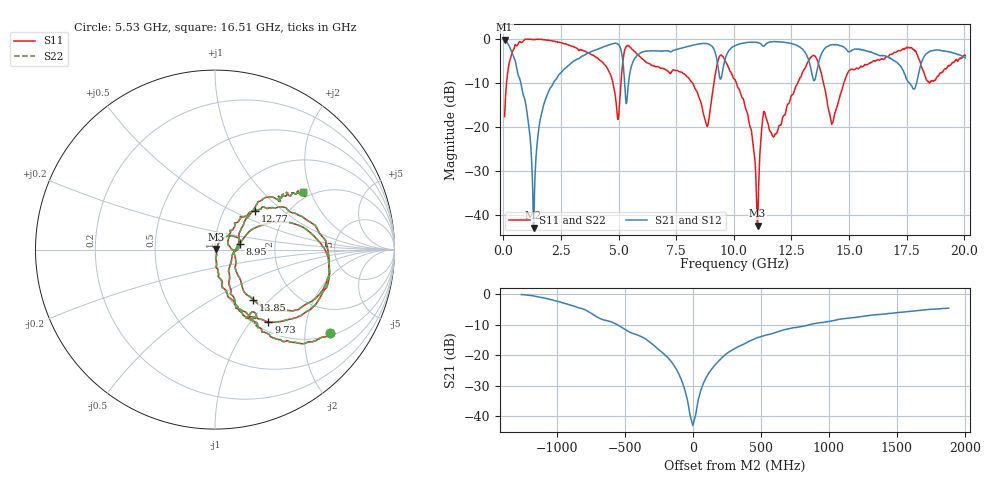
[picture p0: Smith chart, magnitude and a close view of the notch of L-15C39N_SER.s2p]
#	mhz	s	ma	r	50
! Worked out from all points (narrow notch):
!   1001 points, 50 MHz to 20.05 GHz, reference 50 ohm
!   highest |S21| = -0.16 dB at 50 MHz (marker M1); lowest = -43.0 dB at 1.31 GHz (marker M2)
!   notch at M2: 40.2 dB deep, 316 MHz wide at half that depth
!   lowest |S11| = -42.5 dB at 11.03 GHz (marker M3), VSWR 1.02, Z = 50.7 + j0.333 ohm
!   |S11| at or under -10 dB: 8.204 GHz to 9.136 GHz (931.5 MHz wide, 10.7 % of centre); 10.11 GHz to 12.78 GHz (2.668 GHz wide, 23.3 % of centre); 13.89 GHz to 14.77 GHz (888.3 MHz wide, 6.2 % of centre) (the widest 3 of 6)
!   |S22| runs from -42.5 to 0.0 dB; largest |S21 - S12| = 0
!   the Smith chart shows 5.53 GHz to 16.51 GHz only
!   S11 on the Smith chart (normalised r, x): 5.53 GHz: 1.07, -2.70; 8.95 GHz: 1.32, +0.08; 9.73 GHz: 1.14, -1.23; 12.77 GHz: 1.40, +0.67; 13.85 GHz: 1.26, -0.80; 16.51 GHz: 1.80, +1.76
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50  0.1308 79.3  0.9823 -6.8  0.9823 -6.8  0.1308 79.3
930  0.9876 5.2  0.2018 -81.2  0.2018 -81.2  0.9876 5.2
1310  0.9823 -5.3  0.0071 -7.1  0.0071 -7.1  0.9823 -5.3
1870  0.9722 -18.2  0.2187 71.4  0.2187 71.4  0.9722 -18.2
3390  0.7471 -44.0  0.629 41.8  0.629 41.8  0.7471 -44.0
4950  0.1287 -37.5  0.8781 -7.2  0.8781 -7.2  0.1287 -37.5
5530  0.7934 -36.0  0.4642 37.5  0.4642 37.5  0.7934 -36.0
6730  0.482 -60.6  0.7285 10.2  0.7285 10.2  0.482 -60.6
8950  0.1419 12.8  0.8606 -19.3  0.8606 -19.3  0.1419 12.8
9390  0.6399 -7.2  0.3601 -21.3  0.3601 -21.3  0.6399 -7.2
9730  0.5018 -53.6  0.6991 11.8  0.6991 11.8  0.5018 -53.6
10050  0.3437 -70.3  0.8398 2.4  0.8398 2.4  0.3437 -70.3
11030  0.00747 26.1  0.9137 -16.6  0.9137 -16.6  0.00747 26.1
11310  0.1497 21.2  0.8309 -16.1  0.8309 -16.1  0.1497 21.2
12770  0.3123 43.7  0.8339 -42.2  0.8339 -42.2  0.3123 43.7
13390  0.6343 -3.0  0.3994 -50.7  0.3994 -50.7  0.6343 -3.0
13850  0.3504 -52.7  0.7178 -9.8  0.7178 -9.8  0.3504 -52.7
14270  0.1095 -6.9  0.8599 -26.7  0.8599 -26.7  0.1095 -6.9
16510  0.5855 33.5  0.6469 -53.1  0.6469 -53.1  0.5855 33.5
16730  0.6412 31.6  0.6126 -57.0  0.6126 -57.0  0.6412 31.6
18030  0.5928 -20.5  0.4137 -6.4  0.4137 -6.4  0.5928 -20.5
20050  0.6428 7.9  0.609 -72.3  0.609 -72.3  0.6428 7.9
